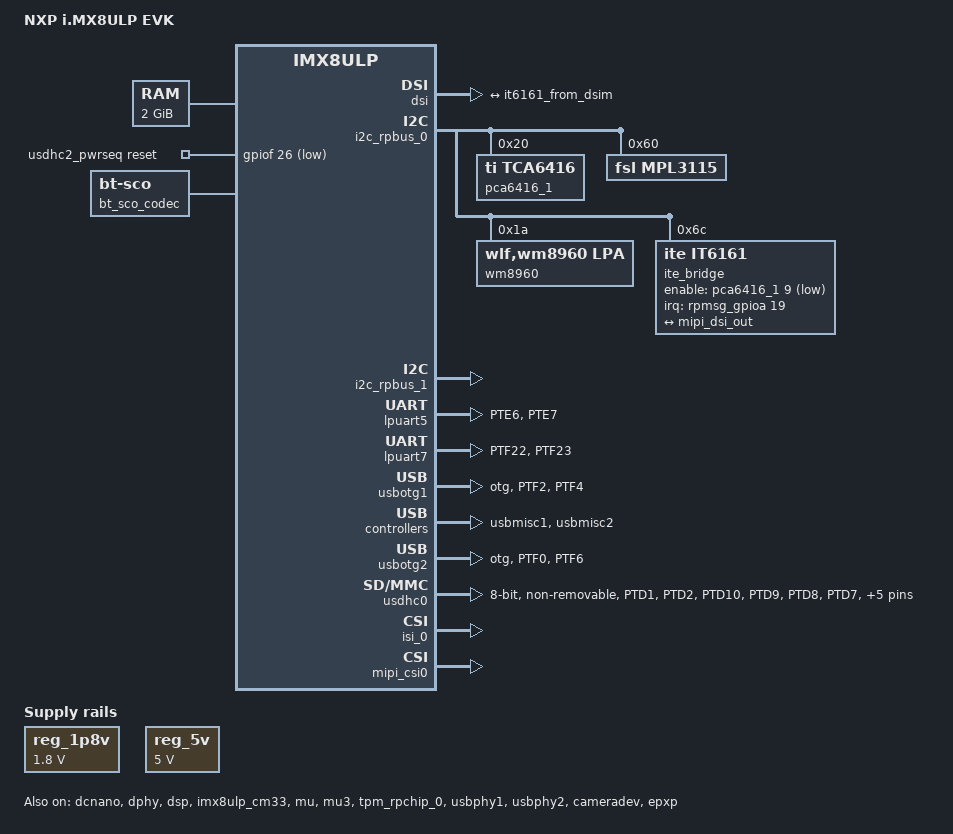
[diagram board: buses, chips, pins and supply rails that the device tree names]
// SPDX-License-Identifier: (GPL-2.0+ OR MIT)
/*
 * Copyright 2021 NXP
 */

/dts-v1/;

#include "imx8ulp.dtsi"
#include "imx8ulp-rpmsg.dtsi"
#include <dt-bindings/input/input.h>

/ {
	model = "NXP i.MX8ULP EVK";
	compatible = "fsl,imx8ulp-evk", "fsl,imx8ulp";

	chosen {
		stdout-path = &lpuart5;
	};

	memory@40000000 {
		device_type = "memory";
		reg = <0x0 0x80000000 0 0x80000000>;
	};

	rpmsg_keys: rpmsg-keys {
		compatible = "fsl,rpmsg-keys";

		volume-up {
			label = "VolumeUp";
			linux,code = <KEY_VOLUMEUP>;
			rpmsg-key,wakeup;
		};

		volume-down {
			label = "VolumeDown";
			linux,code = <KEY_VOLUMEDOWN>;
			rpmsg-key,wakeup;
		};
	};

	reg_1p8v: regulator-1p8v {
		compatible = "regulator-fixed";
		regulator-name = "1P8V";
		regulator-min-microvolt = <1800000>;
		regulator-max-microvolt = <1800000>;
		regulator-always-on;
	};

	reserved-memory {
		#address-cells = <2>;
		#size-cells = <2>;
		ranges;

		linux,cma {
			compatible = "shared-dma-pool";
			reusable;
			size = <0 0x28000000>;
			linux,cma-default;
		};

		rsc_table: rsc_table@1fff8000{
			reg = <0 0x1fff8000 0 0x1000>;
			no-map;
		};

		dsp_reserved: dsp_reserved@8e000000 {
			reg = <0 0x8e000000 0 0x1000000>;
			no-map;
		};
		dsp_reserved_heap: dsp_reserved_heap {
			reg = <0 0x8f000000 0 0xef0000>;
			no-map;
		};
		dsp_vdev0vring0: vdev0vring0@8fef0000 {
			reg = <0 0x8fef0000 0 0x8000>;
			no-map;
		};
		dsp_vdev0vring1: vdev0vring1@8fef8000 {
			reg = <0 0x8fef8000 0 0x8000>;
			no-map;
		};
		dsp_vdev0buffer: vdev0buffer@8ff00000 {
			compatible = "shared-dma-pool";
			reg = <0 0x8ff00000 0 0x100000>;
			no-map;
		};

		vdev0vring0: vdev0vring0@aff00000 {
			reg = <0 0xaff00000 0 0x8000>;
			no-map;
		};

		vdev0vring1: vdev0vring1@aff08000 {
			reg = <0 0xaff08000 0 0x8000>;
			no-map;
		};

		vdev1vring0: vdev1vring0@aff10000 {
			reg = <0 0xaff10000 0 0x8000>;
			no-map;
		};

		vdev1vring1: vdev1vring1@aff18000 {
			reg = <0 0xaff18000 0 0x8000>;
			no-map;
		};

		vdevbuffer: vdevbuffer@a8400000 {
			compatible = "shared-dma-pool";
			reg = <0 0xa8400000 0 0x100000>;
			no-map;
		};

		audio_reserved: audio@0xa8500000 {
			compatible = "shared-dma-pool";
			no-map;
			reg = <0 0xa8500000 0 0x100000>;
		};

		m33_reserved: m33_noncacheable_section@a8600000 {
			no-map;
			reg = <0 0xa8600000 0 0x1000000>;
		};
	};

	reg_5v: regulator-5v {
		compatible = "regulator-fixed";
		regulator-name = "5V";
		regulator-min-microvolt = <5000000>;
		regulator-max-microvolt = <5000000>;
		regulator-always-on;
	};

	usdhc2_pwrseq: usdhc2_pwrseq {
		compatible = "mmc-pwrseq-simple";
		reset-gpios = <&gpiof 26 GPIO_ACTIVE_LOW>;
	};

	bt_sco_codec: bt_sco_codec {
		#sound-dai-cells = <1>;
		compatible = "linux,bt-sco";
	};

	rpmsg_audio: rpmsg-audio {
		compatible = "fsl,imx8ulp-rpmsg-audio";
		model = "wm8960-audio";
		fsl,rpmsg-out;
		fsl,rpmsg-in;
		audio-codec = <&wm8960>;
		memory-region = <&audio_reserved>;
		audio-routing =
			"LINPUT1", "MICB",
			"LINPUT3", "MICB";
		status = "okay";
	};
};

&per_bridge4 {
	tpm7: pwm@29830000 {
		compatible = "fsl,imx8ulp-pwm", "fsl,imx7ulp-pwm";
		reg = <0x29830000 0x10000>;
                clocks = <&pcc4 IMX8ULP_CLK_TPM7>;
                clock-names = "ipg", "sel";
                assigned-clocks = <&pcc4 IMX8ULP_CLK_TPM7>, <&cgc1 IMX8ULP_CLK_TPM7_SEL>;
                assigned-clock-parents =  <&cgc1 IMX8ULP_CLK_SOSC_DIV2>, <&cgc1 IMX8ULP_CLK_SOSC>;
                assigned-clock-rates = <24000000>;
                status = "disabled";
	};
};

&clock_ext_ts {
	/* External ts clock is 50MHZ from PHY on EVK board. */
	clock-frequency = <50000000>;
};

&dcnano {
	status = "okay";
};

&dphy {
	status = "okay";
};

&dsi {
	status = "okay";
	ports {
		port@1 {
			reg = <1>;
			mipi_dsi_out: endpoint {
				remote-endpoint = <&it6161_from_dsim>;
			};
		};
	};
};

&dsp {
	assigned-clocks = <&cgc2 IMX8ULP_CLK_HIFI_SEL>;
	assigned-clock-parents = <&cgc2 IMX8ULP_CLK_PLL4>;
	memory-region = <&dsp_vdev0buffer>, <&dsp_vdev0vring0>,
			<&dsp_vdev0vring1>, <&dsp_reserved>;
	status = "okay";
};

&i2c_rpbus_0 {
	#address-cells = <1>;
	#size-cells = <0>;
	status = "okay";

	pca6416_1: gpio@20 {
		compatible = "ti,tca6416";
		reg = <0x20>;
		gpio-controller;
		#gpio-cells = <2>;
	};

	mpl3115@60 {
		compatible = "fsl,mpl3115";
		reg = <0x60>;
	};

	wm8960: wm8960@1a {
		compatible = "wlf,wm8960,lpa";
		reg = <0x1a>;
		wlf,shared-lrclk;
		clocks = <&wm8960_mclk>;
		clock-names = "mclk";
	};

	ite_bridge: it6161@6c {
		compatible = "ite,it6161";
		reg = <0x6c>;
		it6161-addr-hdmi-tx = <0x4c>;
		enable-gpios = <&pca6416_1 9 GPIO_ACTIVE_LOW>;
		interrupt-parent = <&rpmsg_gpioa>;
		interrupts = <19 IRQ_TYPE_LEVEL_LOW>;
		status = "okay";

		port {
			it6161_from_dsim: endpoint {
				remote-endpoint = <&mipi_dsi_out>;
			};
		};
	};
};

&i2c_rpbus_1 {
	#address-cells = <1>;
	#size-cells = <0>;
	status = "okay";
};

&imx8ulp_cm33 {
	ipc-only;
	rsc-da=<0x1fff8000>;
	mbox-names = "tx", "rx", "rxdb";
	mboxes = <&mu 0 1
			&mu 1 1
			&mu 3 1>;
	memory-region = <&vdevbuffer>, <&vdev0vring0>, <&vdev0vring1>,
			<&vdev1vring0>, <&vdev1vring1>, <&rsc_table>;
	status = "okay";
};

&lpuart5 {
	/* console */
	pinctrl-names = "default", "sleep";
	pinctrl-0 = <&pinctrl_lpuart5>;
	pinctrl-1 = <&pinctrl_lpuart5>;
	status = "okay";
};

&lpuart7 {
	/* FT4232 PortD: need to connect J25/J26 2-3 */
	pinctrl-names = "default", "sleep";
	pinctrl-0 = <&pinctrl_lpuart7>;
	pinctrl-1 = <&pinctrl_lpuart7>;
	status = "okay";
};

&mu {
	status = "okay";
};

&mu3 {
	status = "okay";
};

&tpm_rpchip_0 {
	status = "okay";
};

&usbotg1 {
	pinctrl-names = "default", "sleep";
	pinctrl-0 = <&pinctrl_otgid1>;
	pinctrl-1 = <&pinctrl_otgid1>;
	dr_mode = "otg";
	hnp-disable;
	srp-disable;
	adp-disable;
	over-current-active-low;
	status = "okay";
};

&usbphy1 {
	status = "okay";
};

&usbmisc1 {
	status = "okay";
};

&usbotg2 {
	pinctrl-names = "default", "sleep";
	pinctrl-0 = <&pinctrl_otgid2>;
	pinctrl-1 = <&pinctrl_otgid2>;
	dr_mode = "otg";
	hnp-disable;
	srp-disable;
	adp-disable;
	over-current-active-low;
	status = "okay";
};

&usbphy2 {
	status = "okay";
};

&usbmisc2 {
	status = "okay";
};

&usdhc0 {
	pinctrl-names = "default", "state_100mhz", "state_200mhz", "sleep";
	pinctrl-0 = <&pinctrl_usdhc0>;
	pinctrl-1 = <&pinctrl_usdhc0>;
	pinctrl-2 = <&pinctrl_usdhc0>;
	pinctrl-3 = <&pinctrl_usdhc0>;
	non-removable;
	bus-width = <8>;
	status = "okay";
};

&iomuxc0 {
	pinctrl-names = "default";
        pinctrl-0 = <&pinctrl_hog_0>;

        pinctrl_hog_0: hog0grp {
                fsl,pins = <
                        MX8ULP_PAD_PTA5__PTA5_GPIOA     0x3
                        MX8ULP_PAD_PTB0__PTB0_GPIOB     0x3
                        MX8ULP_PAD_PTB1__PTB1_GPIOB     0x3
                        MX8ULP_PAD_PTB6__PTB6_GPIOB     0x3
                        MX8ULP_PAD_PTC0__PTC0_GPIOC     0x3
                        MX8ULP_PAD_PTC1__PTC1_GPIOC     0x3
                        MX8ULP_PAD_PTC2__PTC2_GPIOC     0x3
                        MX8ULP_PAD_PTC3__PTC3_GPIOC     0x3
                        MX8ULP_PAD_PTC4__PTC4_GPIOC     0x3
                        MX8ULP_PAD_PTC12__PTC12_GPIOC   0x3
                        MX8ULP_PAD_PTC18__PTC18_GPIOC   0x3
                        MX8ULP_PAD_PTC19__PTC19_GPIOC   0x3
                        MX8ULP_PAD_PTC20__PTC20_GPIOC   0x3

                        MX8ULP_PAD_PTC21__PTC21_GPIOC   0x3
                        MX8ULP_PAD_PTC22__PTC22_GPIOC   0x3
                        MX8ULP_PAD_PTC23__PTC23_GPIOC   0x3

                        MX8ULP_PAD_PTA8__PTA8_GPIOA     0x3 /* MX8ULP_PAD_PTA8__PTA8_GPIOA     0x3 */
                        MX8ULP_PAD_PTA9__PTA9_GPIOA     0x3 /* MX8ULP_PAD_PTA9__PTA9_GPIOA     0x3 */
                        MX8ULP_PAD_PTA10__PTA10_GPIOA   0x3
                        MX8ULP_PAD_PTA11__PTA11_GPIOA   0x3
                        MX8ULP_PAD_PTA17__PTA17_GPIOA   0x3
                        MX8ULP_PAD_PTA19__PTA19_GPIOA   0x3
                        MX8ULP_PAD_PTA20__PTA20_GPIOA   0x3
                        MX8ULP_PAD_PTA21__PTA21_GPIOA   0x3 /* MX8ULP_PAD_PTA21__PTA21_GPIOA   0x3 */
                        MX8ULP_PAD_PTA22__PTA22_GPIOA   0x3
                        MX8ULP_PAD_PTA23__PTA23_GPIOA   0x3

                        MX8ULP_PAD_PTB2__PTB2_GPIOB     0x3
                        MX8ULP_PAD_PTB3__PTB3_GPIOB     0x3
                        MX8ULP_PAD_PTB4__PTB4_GPIOB     0x3
                        MX8ULP_PAD_PTB5__PTB5_GPIOB     0x3
                        MX8ULP_PAD_PTB12__PTB12_GPIOB   0x3
                        MX8ULP_PAD_PTB13__PTB13_GPIOB   0x3

                        MX8ULP_PAD_PTC5__PTC5_GPIOC     0x3
                        MX8ULP_PAD_PTC6__PTC6_GPIOC     0x3
                        MX8ULP_PAD_PTC7__PTC7_GPIOC     0x3
                        MX8ULP_PAD_PTC8__PTC8_GPIOC     0x3
                        MX8ULP_PAD_PTC9__PTC9_GPIOC     0x3
                        MX8ULP_PAD_PTC10__PTC10_GPIOC   0x3
                        MX8ULP_PAD_PTC11__PTC11_GPIOC   0x3
                        MX8ULP_PAD_PTC13__PTC13_GPIOC   0x3
                        MX8ULP_PAD_PTC14__PTC14_GPIOC   0x3
                        MX8ULP_PAD_PTC15__PTC15_GPIOC   0x3
                        MX8ULP_PAD_PTC17__PTC17_GPIOC   0x3
                >;
        };

};

&iomuxc1 {
	pinctrl-names = "default";
        pinctrl-0 = <&pinctrl_hog_1>;

        pinctrl_hog_1: hog1grp {
                fsl,pins = <
                        MX8ULP_PAD_PTD12__PTD12         0x3
                        MX8ULP_PAD_PTD13__PTD13         0x3
                        MX8ULP_PAD_PTD19__PTD19         0x3
                        MX8ULP_PAD_PTF1__PTF1           0x3

                        MX8ULP_PAD_PTD14__PTD14         0x3
                        MX8ULP_PAD_PTD15__PTD15         0x3
                        MX8ULP_PAD_PTD16__PTD16         0x3
                        MX8ULP_PAD_PTD17__PTD17         0x3
                        MX8ULP_PAD_PTD18__PTD18         0x3
                        MX8ULP_PAD_PTD20__PTD20         0x3
                        MX8ULP_PAD_PTD21__PTD21         0x3
                        MX8ULP_PAD_PTD22__PTD22         0x3
                        MX8ULP_PAD_PTD23__PTD23         0x3

                        MX8ULP_PAD_PTE0__PTE0           0x3
                        MX8ULP_PAD_PTE1__PTE1           0x3
                        MX8ULP_PAD_PTE2__PTE2           0x3
                        MX8ULP_PAD_PTE3__PTE3           0x3
                        MX8ULP_PAD_PTE4__PTE4           0x3
                        MX8ULP_PAD_PTE5__PTE5           0x3
                        MX8ULP_PAD_PTE8__PTE8           0x3 /* MX8ULP_PAD_PTE8__PTE8           0x3 */
                        MX8ULP_PAD_PTE9__PTE9           0x3 /* MX8ULP_PAD_PTE9__PTE9           0x3 */
                        MX8ULP_PAD_PTE10__PTE10         0x3
                        MX8ULP_PAD_PTE11__PTE11         0x3
                        MX8ULP_PAD_PTE14__PTE14         0x3
                        MX8ULP_PAD_PTE15__PTE15         0x3
                        MX8ULP_PAD_PTE16__PTE16         0x3
                        MX8ULP_PAD_PTE17__PTE17         0x3
                        MX8ULP_PAD_PTE18__PTE18         0x3
                        MX8ULP_PAD_PTE19__PTE19         0x3
                        MX8ULP_PAD_PTE20__PTE20         0x3
                        MX8ULP_PAD_PTE21__PTE21         0x3
                        MX8ULP_PAD_PTE22__PTE22         0x3
                        MX8ULP_PAD_PTE23__PTE23         0x3

                        MX8ULP_PAD_PTF3__PTF3           0x3
                        MX8ULP_PAD_PTF7__PTF7           0x3
                        MX8ULP_PAD_PTF8__PTF8           0x3
                        MX8ULP_PAD_PTF9__PTF9           0x3
                        MX8ULP_PAD_PTF10__PTF10         0x3
                        MX8ULP_PAD_PTF11__PTF11         0x3
                        MX8ULP_PAD_PTF16__PTF16         0x3
                        MX8ULP_PAD_PTF25__PTF25         0x3
                        MX8ULP_PAD_PTF27__PTF27         0x3
                        MX8ULP_PAD_PTF28__PTF28         0x3
                        MX8ULP_PAD_PTF29__PTF29         0x3
                        MX8ULP_PAD_PTF30__PTF30         0x3
                        MX8ULP_PAD_PTF31__PTF31         0x3
                >;
        };

	pinctrl_lpuart5: lpuart5grp {
		fsl,pins = <
			MX8ULP_PAD_PTE6__LPUART5_TX	0x3
			MX8ULP_PAD_PTE7__LPUART5_RX	0x3
		>;
	};

	pinctrl_lpuart7: lpuart7grp {
		fsl,pins = <
			MX8ULP_PAD_PTF22__LPUART7_TX	0x3
			MX8ULP_PAD_PTF23__LPUART7_RX	0x3
		>;
	};

	pinctrl_otgid1: usb1grp {
		fsl,pins = <
			MX8ULP_PAD_PTF2__USB0_ID	0x10003
			MX8ULP_PAD_PTF4__USB0_OC	0x10003
		>;
	};

	pinctrl_otgid2: usb2grp {
		fsl,pins = <
			MX8ULP_PAD_PTF0__USB1_ID	0x10003
			MX8ULP_PAD_PTF6__USB1_OC	0x10003
		>;
	};

	pinctrl_usdhc0: usdhc0grp {
		fsl,pins = <
			MX8ULP_PAD_PTD1__SDHC0_CMD	0x3
			MX8ULP_PAD_PTD2__SDHC0_CLK	0x10002
			MX8ULP_PAD_PTD10__SDHC0_D0	0x3
			MX8ULP_PAD_PTD9__SDHC0_D1	0x3
			MX8ULP_PAD_PTD8__SDHC0_D2	0x3
			MX8ULP_PAD_PTD7__SDHC0_D3	0x3
			MX8ULP_PAD_PTD6__SDHC0_D4	0x3
			MX8ULP_PAD_PTD5__SDHC0_D5	0x3
			MX8ULP_PAD_PTD4__SDHC0_D6	0x3
			MX8ULP_PAD_PTD3__SDHC0_D7	0x3
			MX8ULP_PAD_PTD11__SDHC0_DQS	0x10002
		>;
	};
};

&cameradev {
	status = "okay";
};

&isi_0 {
	status = "okay";

	cap_device {
		status = "okay";
	};
};

&mipi_csi0 {
	#address-cells = <1>;
	#size-cells = <0>;

	status = "okay";
};

&epxp {
	status = "okay";
};
